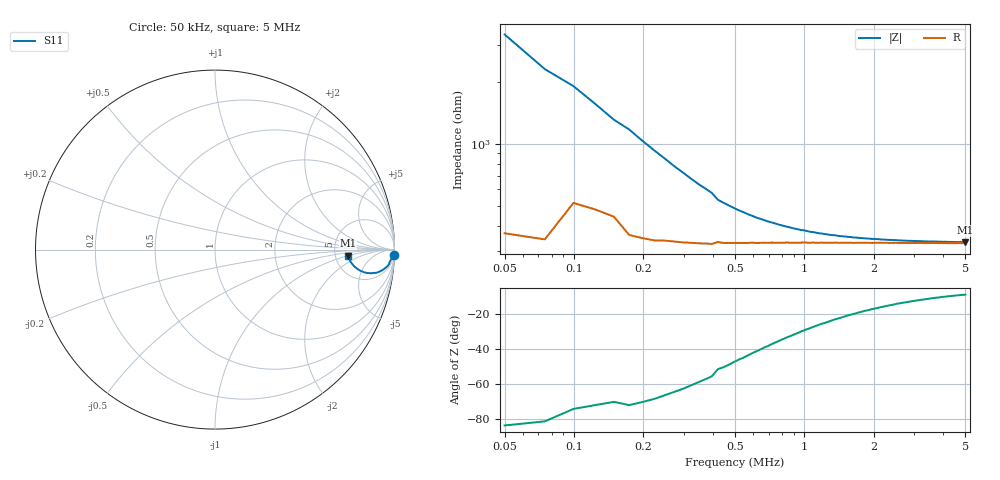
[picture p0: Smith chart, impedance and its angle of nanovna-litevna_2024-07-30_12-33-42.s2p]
! NanoVNA-App by OneOfEleven et al v1.1.209 (+OD15)
! Date: 2024-07-30 12:33:46
! Start: 50kHz Stop: 5MHz Points: 201
! S-Parameter data: F S11 S21 S12 S22
# Hz S RI R 50
!  Frequency  S11_Real  S11_Imag  S21_Real  S21_Imag  S12_Real  S12_Imag  S22_Real  S22_Imag
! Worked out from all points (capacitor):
!   201 points, 50 kHz to 5 MHz, reference 50 ohm
!   read as one part to ground: C = 874 pF near 74.75 kHz
!   lowest |Z| = 332 ohm at 4.975 MHz (marker M1)
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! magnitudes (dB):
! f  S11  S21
! 50 kHz  0.0  -92.5
! 74.75 kHz  -0.1  -83.9
! 99.5 kHz  -0.1  -88.5
! 149 kHz  -0.2  -91.7
! 173.8 kHz  -0.2  -98.7
! 223.2 kHz  -0.3  -102.1
! 396.5 kHz  -0.8  -97.2
! 421.2 kHz  -1.0  -88.0
! 569.8 kHz  -1.4  -93.0
! 693.5 kHz  -1.6  -93.0
! 767.8 kHz  -1.7  -90.6
! 891.5 kHz  -1.9  -89.4
! 1.065 MHz  -2.1  -92.4
! 1.288 MHz  -2.2  -88.5
! 1.535 MHz  -2.3  -95.6
! 1.708 MHz  -2.4  -100.7
! 2.154 MHz  -2.5  -86.6
! 2.525 MHz  -2.5  -82.5
! 3.366 MHz  -2.6  -89.9
! 4.183 MHz  -2.6  -85.3
! 4.975 MHz  -2.6  -89.7
! 5 MHz  -2.6  -92.0
